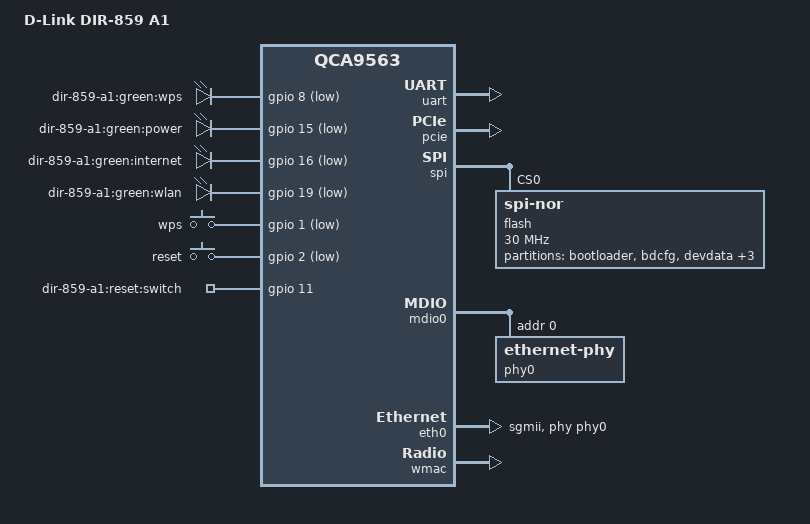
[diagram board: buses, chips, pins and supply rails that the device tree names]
// SPDX-License-Identifier: GPL-2.0-or-later OR MIT

#include "qca956x.dtsi"

#include <dt-bindings/gpio/gpio.h>
#include <dt-bindings/input/input.h>

/ {
	model = "D-Link DIR-859 A1";
	compatible = "dlink,dir-859-a1", "qca,qca9563";

	aliases {
		led-boot = &led_power;
		led-failsafe = &led_power;
		led-running = &led_power;
		led-upgrade = &led_power;
	};

	leds {
		compatible = "gpio-leds";

		wps {
			label = "dir-859-a1:green:wps";
			gpios = <&gpio 8 GPIO_ACTIVE_LOW>;
		};

		led_power: power {
			label = "dir-859-a1:green:power";
			gpios = <&gpio 15 GPIO_ACTIVE_LOW>;
		};

		internet {
			label = "dir-859-a1:green:internet";
			gpios = <&gpio 16 GPIO_ACTIVE_LOW>;
		};

		wlan {
			label = "dir-859-a1:green:wlan";
			gpios = <&gpio 19 GPIO_ACTIVE_LOW>;
			linux,default-trigger = "phy0tpt";
		};
	};

	keys {
		compatible = "gpio-keys";

		wps {
			linux,code = <KEY_WPS_BUTTON>;
			gpios = <&gpio 1 GPIO_ACTIVE_LOW>;
			debounce-interval = <60>;
		};

		reset {
			linux,code = <KEY_RESTART>;
			gpios = <&gpio 2 GPIO_ACTIVE_LOW>;
			debounce-interval = <60>;
		};
	};

	gpio-export {
		compatible = "gpio-export";
		#size-cells = <0>;

		gpio_switch_reset {
			gpio-export,name = "dir-859-a1:reset:switch";
			gpio-export,output = <1>;
			gpios = <&gpio 11 GPIO_ACTIVE_HIGH>;
		};
	};
};

&uart {
	status = "okay";
};

&pcie {
	status = "okay";
};

&spi {
	status = "okay";

	num-cs = <1>;

	flash@0 {
		compatible = "jedec,spi-nor";
		reg = <0>;
		spi-max-frequency = <30000000>;

		partitions {
			compatible = "fixed-partitions";
			#address-cells = <1>;
			#size-cells = <1>;

			partition@0 {
				label = "bootloader";
				reg = <0x000000 0x40000>;
				read-only;
			};

			partition@40000 {
				label = "bdcfg";
				reg = <0x040000 0x10000>;
				read-only;
			};

			partition@50000 {
				label = "devdata";
				reg = <0x050000 0x10000>;
				read-only;
			};

			partition@60000 {
				label = "devconf";
				reg = <0x060000 0x10000>;
				read-only;
			};

			partition@70000 {
				compatible = "seama";
				label = "firmware";
				reg = <0x070000 0xf80000>;
			};

			art: partition@ff0000 {
				label = "art";
				reg = <0xff0000 0x010000>;
				read-only;
			};
		};
	};
};

&mdio0 {
	status = "okay";

	phy-mask = <0>;

	phy0: ethernet-phy@0 {
		reg = <0>;
		phy-mode = "sgmii";
		qca,mib-poll-interval = <500>;

		qca,ar8327-initvals = <
			0x04 0x00080080 /* PORT0 PAD MODE CTRL */
			0x10 0x81000080 /* POWER_ON_STRAP */
			0x50 0xcc35cc35 /* LED_CTRL0 */
			0x54 0xcb37cb37 /* LED_CTRL1 */
			0x58 0x00000000 /* LED_CTRL2 */
			0x5c 0x00f3cf00 /* LED_CTRL3 */
			0x7c 0x0000007e /* PORT0_STATUS */
			>;
	};
};

&eth0 {
	status = "okay";

	pll-data = <0x03000101 0x00000101 0x00001919>;

	phy-mode = "sgmii";
	phy-handle = <&phy0>;
};

&wmac {
	status = "okay";

	qca,no-eeprom;
};
